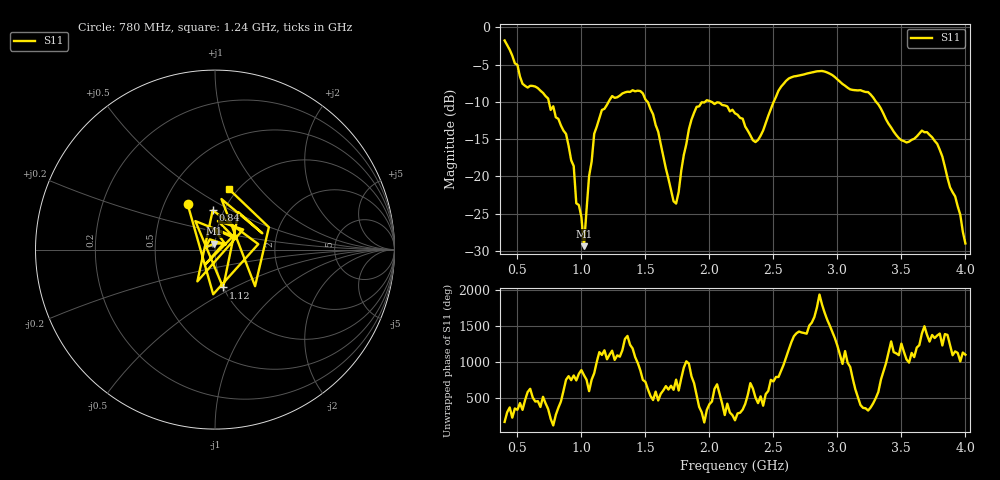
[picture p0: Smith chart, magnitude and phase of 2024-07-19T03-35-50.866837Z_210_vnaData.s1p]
!Created with skrf (http://scikit-rf.org).
# Hz S RI R 50.0
!freq ReS11 ImS11
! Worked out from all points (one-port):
!   181 points, 400 MHz to 4 GHz, reference 50 ohm
!   lowest |S11| = -29.4 dB at 1.02 GHz (marker M1), VSWR 1.07, Z = 49.4 + j3.32 ohm
!   |S11| at or under -10 dB: 745.9 MHz to 1.212 GHz (466.5 MHz wide, 47.6 % of centre); 2.017 GHz to 2.502 GHz (485.1 MHz wide, 21.5 % of centre); 3.302 GHz to end of sweep (the widest 3 of 4)
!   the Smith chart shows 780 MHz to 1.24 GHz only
!   S11 on the Smith chart (normalised r, x): 780 MHz: 0.66, +0.36; 840 MHz: 0.89, +0.41; 1.12 GHz: 1.00, -0.44; 1.24 GHz: 0.91, +0.70
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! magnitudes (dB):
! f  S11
! 400 MHz  -1.8
! 540 MHz  -7.6
! 780 MHz  -10.6
! 840 MHz  -13.2
! 860 MHz  -13.9
! 940 MHz  -18.6
! 960 MHz  -23.6
! 1 GHz  -25.4
! 1.02 GHz  -29.4
! 1.06 GHz  -20.0
! 1.12 GHz  -13.3
! 1.24 GHz  -9.2
! 1.3 GHz  -9.2
! 1.48 GHz  -8.9
! 1.6 GHz  -14.0
! 1.72 GHz  -23.3
! 1.76 GHz  -22.1
! 1.84 GHz  -13.7
! 1.9 GHz  -10.7
! 2.2 GHz  -11.5
! 2.36 GHz  -15.4
! 2.54 GHz  -8.5
! 2.66 GHz  -6.6
! 3.1 GHz  -8.3
! 3.24 GHz  -8.7
! 3.56 GHz  -15.3
! 3.78 GHz  -15.6
! 4 GHz  -29.0
